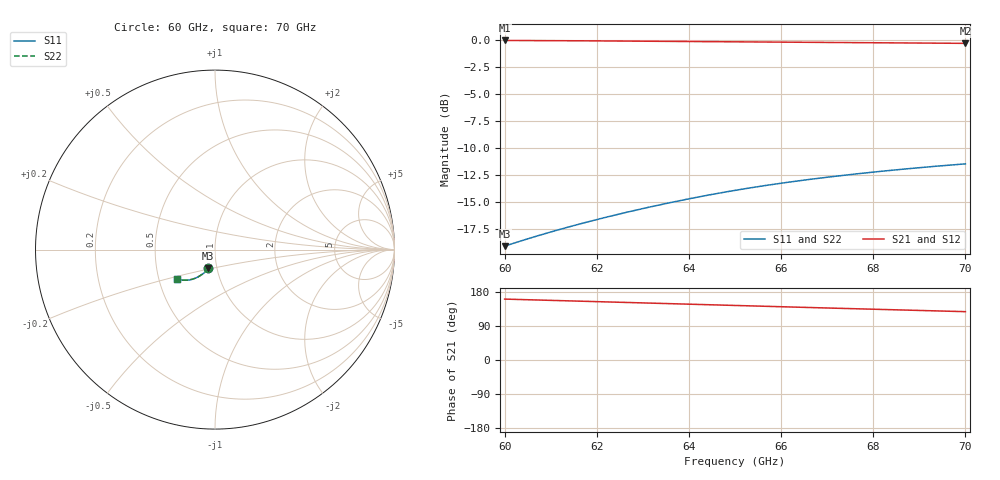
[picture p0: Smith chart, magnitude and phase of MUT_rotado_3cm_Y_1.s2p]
! TOUCHSTONE file generated by CST MICROWAVE STUDIO
! Date and time: Wed Feb 21 09:08:29 2024
! Project name: material_prueba.cst
! Parameters = {Y=0}
! Header version: 2018
! Port assignment regex: !\s*Touchstone port\s*([0-9]+)\s*=\s*(CST MWS port|CST DS port)\s*([0-9]+|Zmin|Zmax)\s*\(\"(.*)\"\)(\s*mode\s*([0-9]+))?.*
! Touchstone port assignment:
! Touchstone port 1 = CST MWS port 1 ("")
! Touchstone port 2 = CST MWS port 2 ("")
# GHz S MA R 376.7
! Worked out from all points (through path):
!   1001 points, 60 GHz to 70 GHz, reference 376.7 ohm
!   highest |S21| = -0.06 dB at 60 GHz (marker M1); lowest = -0.3 dB at 70 GHz (marker M2)
!   group delay of S21, straight-line fit = 9.23 ps
!   lowest |S11| = -19.1 dB at 60 GHz (marker M3), VSWR 1.25, Z = 342 - j72.9 ohm
!   |S11| at or under -10 dB: start of sweep to end of sweep
!   |S22| runs from -19.1 to -11.5 dB; largest |S21 - S12| = 0.00054
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60  0.1115 -109.4  0.9936 160.7  0.9935 160.7  0.1114 -109.2
60.05  0.1124 -109.5  0.9935 160.6  0.9934 160.6  0.1123 -109.3
60.46  0.1198 -110.8  0.9928 159.2  0.9926 159.2  0.1197 -110.7
60.88  0.1274 -112.2  0.992 157.7  0.9917 157.7  0.1274 -112.1
61.27  0.1345 -113.5  0.9911 156.4  0.9908 156.4  0.1346 -113.5
61.67  0.1419 -114.9  0.99 155.0  0.9899 155.0  0.1419 -114.9
62.08  0.1494 -116.3  0.9889 153.7  0.9888 153.6  0.1495 -116.3
62.5  0.1571 -117.8  0.9876 152.2  0.9876 152.2  0.1573 -117.8
62.92  0.1648 -119.2  0.9862 150.8  0.9864 150.8  0.1651 -119.3
63.34  0.1725 -120.6  0.9848 149.4  0.9851 149.4  0.1728 -120.7
63.75  0.1799 -122.0  0.9834 148.0  0.9838 148.0  0.1802 -122.1
64.16  0.1873 -123.4  0.982 146.6  0.9824 146.6  0.1875 -123.5
64.58  0.1947 -124.8  0.9805 145.2  0.981 145.2  0.1948 -124.9
65  0.2018 -126.1  0.9791 143.8  0.9796 143.8  0.2018 -126.2
65.4  0.2084 -127.4  0.9778 142.5  0.9782 142.5  0.2083 -127.6
65.81  0.2148 -128.8  0.9764 141.2  0.9768 141.2  0.2147 -128.9
66.67  0.2275 -131.6  0.9736 138.3  0.9739 138.3  0.2274 -131.7
67.49  0.2386 -134.3  0.971 135.6  0.9711 135.6  0.2386 -134.4
68.34  0.2492 -137.1  0.9685 132.9  0.9684 132.9  0.2493 -137.2
69.25  0.2596 -140.1  0.9657 129.9  0.9656 129.9  0.2597 -140.1
69.95  0.267 -142.4  0.9637 127.7  0.9637 127.7  0.267 -142.2
70  0.2675 -142.5  0.9635 127.5  0.9636 127.5  0.2675 -142.4
